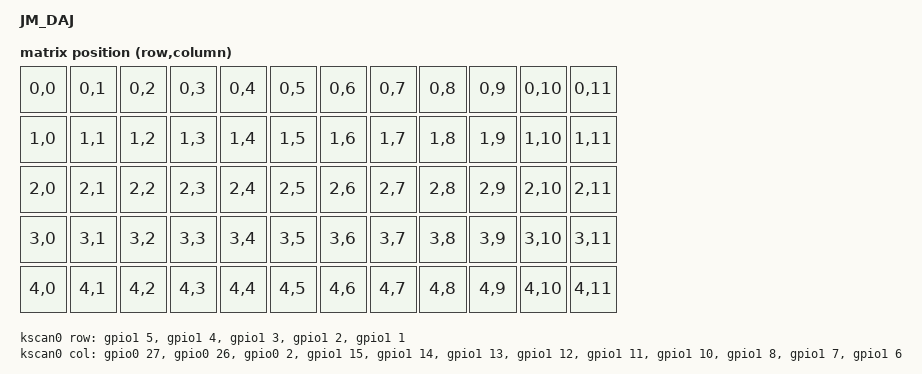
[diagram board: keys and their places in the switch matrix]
/dts-v1/;
#include <nordic/nrf52840_qiaa.dtsi>
#include <dt-bindings/zmk/matrix_transform.h>

/ {
    model = "JM_DAJ";
    compatible = "jm,daj";
    

    chosen {
        zephyr,code-partition = &code_partition;
        zephyr,sram = &sram0;
        zephyr,flash = &flash0;
        zephyr,console = &cdc_acm_uart;
        zmk,kscan = &kscan0;
        zmk,keyboard-transform = &default_transform;
        zmk,physical-layout = &physical_layout0;
    };

    physical_layout0: physical_layout_0 {
        compatible = "zmk,physical-layout";
        display-name = "Default Layout";
        kscan = <&kscan0>;
        transform = <&default_transform>;
    };

    default_transform: keymap_transform_0 {
        compatible = "zmk,matrix-transform";
        columns = <12>;
        rows = <5>;
        map = <
            RC(0,0) RC(0,1) RC(0,2) RC(0,3) RC(0,4) RC(0,5) RC(0,6) RC(0,7) RC(0,8) RC(0,9) RC(0,10) RC(0,11)
            RC(1,0) RC(1,1) RC(1,2) RC(1,3) RC(1,4) RC(1,5) RC(1,6) RC(1,7) RC(1,8) RC(1,9) RC(1,10) RC(1,11)
            RC(2,0) RC(2,1) RC(2,2) RC(2,3) RC(2,4) RC(2,5) RC(2,6) RC(2,7) RC(2,8) RC(2,9) RC(2,10) RC(2,11)
            RC(3,0) RC(3,1) RC(3,2) RC(3,3) RC(3,4) RC(3,5) RC(3,6) RC(3,7) RC(3,8) RC(3,9) RC(3,10) RC(3,11)
            RC(4,0) RC(4,1) RC(4,2) RC(4,3) RC(4,4) RC(4,5) RC(4,6) RC(4,7) RC(4,8) RC(4,9) RC(4,10) RC(4,11)
        >;
    };

    kscan0: kscan {
       compatible = "zmk,kscan-gpio-matrix";
       wakeup-source;
       diode-direction = "col2row";

       row-gpios =
           <&gpio1 5 (GPIO_ACTIVE_HIGH | GPIO_PULL_DOWN)>, // ROW 0 P1.05
           <&gpio1 4 (GPIO_ACTIVE_HIGH | GPIO_PULL_DOWN)>, // ROW 1 P1.04
           <&gpio1 3 (GPIO_ACTIVE_HIGH | GPIO_PULL_DOWN)>, // ROW 2 P1.03
           <&gpio1 2 (GPIO_ACTIVE_HIGH | GPIO_PULL_DOWN)>, // ROW 3 P1.02
           <&gpio1 1 (GPIO_ACTIVE_HIGH | GPIO_PULL_DOWN)>; // ROW 4 P1.01

       col-gpios =
           <&gpio0 27 GPIO_ACTIVE_HIGH>, // COL 0 P0.27
           <&gpio0 26 GPIO_ACTIVE_HIGH>, // COL 1 P0.26
           <&gpio0 2 GPIO_ACTIVE_HIGH>, // COL 2 P0.02
           <&gpio1 15 GPIO_ACTIVE_HIGH>, // COL 3 P1.15
           <&gpio1 14 GPIO_ACTIVE_HIGH>, // COL 4 P1.14
           <&gpio1 13 GPIO_ACTIVE_HIGH>, // COL 5 P1.13
           <&gpio1 12 GPIO_ACTIVE_HIGH>, // COL 6 P1.12
           <&gpio1 11 GPIO_ACTIVE_HIGH>, // COL 7 P1.11
           <&gpio1 10 GPIO_ACTIVE_HIGH>, // COL 8 P1.10
           <&gpio1 8 GPIO_ACTIVE_HIGH>, // COL 9 P1.08
           <&gpio1 7 GPIO_ACTIVE_HIGH>, // COL 10 P1.07
           <&gpio1 6 GPIO_ACTIVE_HIGH>; // COL 11 P1.06
    };
};

&adc {
    status = "okay";
};

&gpiote {
    status = "okay";
};

&gpio0 {
    status = "okay";
};

&gpio1 {
    status = "okay";
};

&usbd {
    status = "okay";
    cdc_acm_uart: cdc_acm_uart {
        compatible = "zephyr,cdc-acm-uart";
    };
};

&flash0 {
    partitions {
        compatible = "fixed-partitions";
        #address-cells = <1>;
        #size-cells = <1>;

        boot_partition: partition@0 {
            reg = <0x00000000 0x0000c000>;
        };

        code_partition: partition@c000 {
            reg = <0x0000c000 0x000c8000>;
        };

        /*
         * The flash starting at 0x000d4000 and ending at
         * 0x000f3fff is reserved for use by the application.
         */

        /*
         * Storage partition will be used by FCB/LittleFS/NVS
         * if enabled.
         */
        storage_partition: partition@d4000 {
            reg = <0x000d4000 0x00020000>;
        };

    };
};
